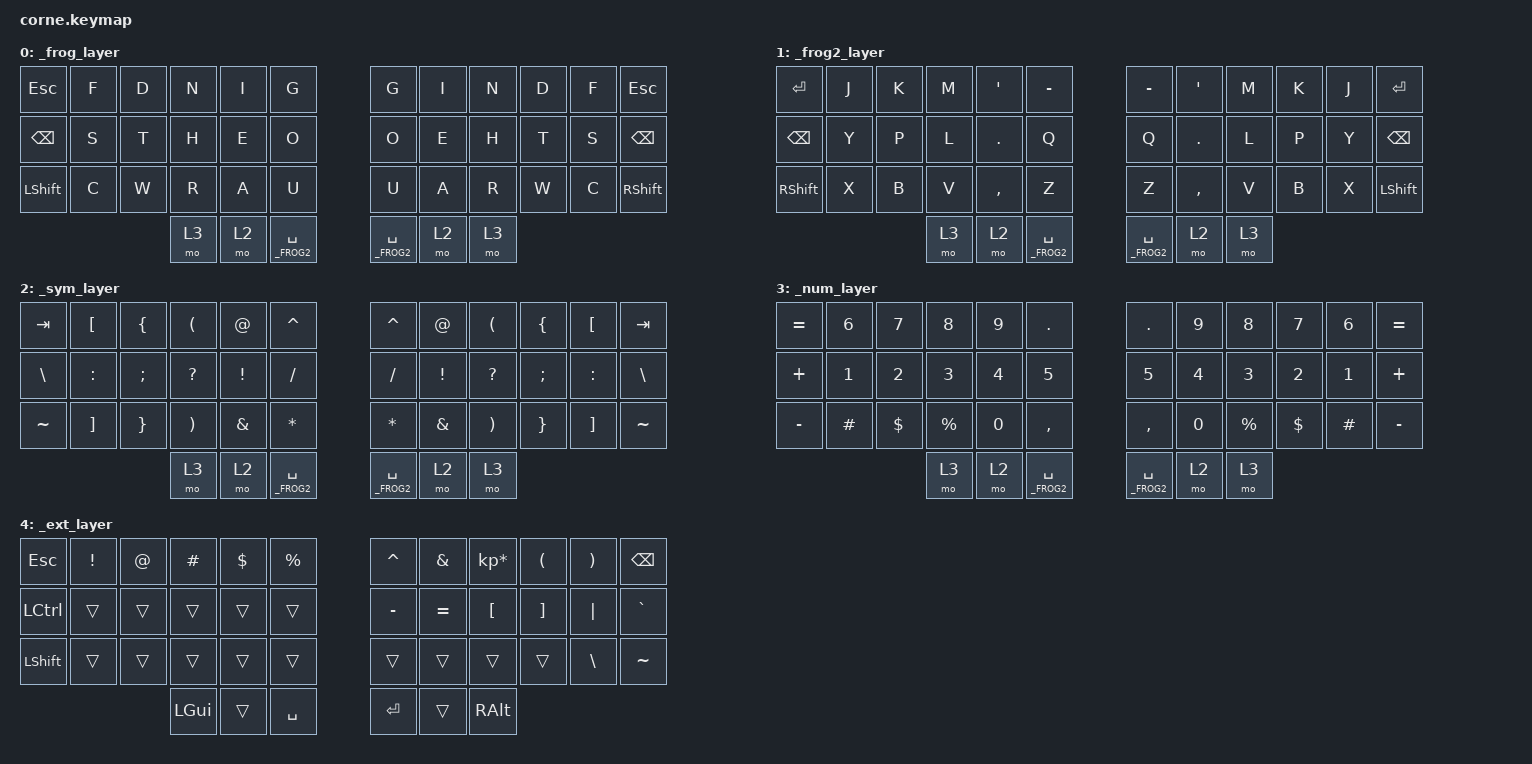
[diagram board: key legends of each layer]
/*
 * Copyright (c) 2020 The ZMK Contributors
 *
 * SPDX-License-Identifier: MIT
 */

#include <behaviors.dtsi>
#include <dt-bindings/zmk/keys.h>
#include <dt-bindings/zmk/bt.h>

#define _FROG 0
#define _FROG2 1
#define _SYM 2
#define _NUM 3
#define _EXT 4

/ {
        keymap {
                compatible = "zmk,keymap";

                _frog_layer {
// -----------------------------------------------------------------------------------------
// |  ESC |  F  |  D  |  N  |  I  |  G  |    |  G  |  I  |  N  |  D  |  F  | ESC  |
// | BSPC |  S  |  T  |  H  |  E  |  O  |    |  O  |  E  |  H  |  T  |  S  | BSPC |
// | SHFT |  C  |  W  |  R  |  A  |  U  |    |  U  |  A  |  R  |  W  |  C  | SHFT |
//                    | NUM | SYM | SPC |    | SPC | SYM | NUM |
                        bindings = <
   &kp ESC   &kp F &kp D &kp N &kp I &kp G   &kp G &kp I  &kp N &kp D &kp F &kp ESC
   &kp BSPC  &kp S &kp T &kp H &kp E &kp O   &kp O &kp E  &kp H &kp T &kp S &kp BSPC
   &kp LSHFT &kp C &kp W &kp R &kp A &kp U   &kp U &kp A  &kp R &kp W &kp C &kp RSHFT
            &mo 3 &mo 2 &lt _FROG2 SPACE     &lt _FROG2 SPACE &mo 2 &mo 3
                        >;
                };
				_frog2_layer {
// -----------------------------------------------------------------------------------------
// |  ENT |  J  |  K  |  M  |  '  |  -_ |    |  -_ |  '  |  M  |  K  |  J  | ENT  |
// | BSPC |  Y  |  P  |  L  |  .  |  Q  |    |  Q  |  .  |  L  |  P  |  Y  | BSPC |
// | SHFT |  X  |  B  |  V  |  ,  |  Z  |    |  Z  |  ,  |  V  |  B  |  X  | SHFT |
//                    | NUM | SYM | SPC |    | SPC | SYM | NUM |
                        bindings = <
   &kp RET   &kp J &kp K &kp M &kp SQT   &kp MINUS   &kp MINUS &kp SQT    &kp M &kp K &kp J &kp RET
   &kp BSPC  &kp Y &kp P &kp L &kp DOT   &kp Q       &kp Q     &kp DOT    &kp L &kp P &kp Y &kp BSPC
   &kp RSHFT &kp X &kp B &kp V &kp COMMA &kp Z       &kp Z     &kp COMMA  &kp V &kp B &kp X &kp LSHFT
				   &mo 3 &mo 2 &lt _FROG2 SPACE      &lt _FROG2 SPACE &mo 2 &mo 3
                        >;
                };
                _sym_layer {
// -----------------------------------------------------------------------------------------
// | TAB |  [  |  {  |  (  |  @  |  ^  |							   |  ^  |  @  |  (  |  {  |  [  | TAB |
// |  \| |  :  |  ;  |  ?  |  !  |  /  |							   |  /  |  !  |  ?  |  ;  |  :  |  \| |
// |  `  |  ]  |  }  |  )  |  &  |  *  |							   |  *  |  &  |  )  |  }  |  ]  |  `  |
//                   | NUM | SYM | SPC |							   | SPC | SYM | NUM |
                        bindings = <
   &kp TAB    &kp LBKT   &kp LBRC  &kp LPAR    &kp AT    &kp CARET     &kp CARET &kp AT   &kp LPAR  &kp LBRC &kp LBKT  &kp TAB
   &kp BSLH   &kp COLON  &kp SEMI  &kp QMARK   &kp EXCL  &kp FSLH      &kp FSLH  &kp EXCL &kp QMARK &kp SEMI &kp COLON &kp BSLH
   &kp TILDE  &kp RBKT   &kp RBRC  &kp RPAR    &kp AMPS  &kp ASTRK     &kp ASTRK &kp AMPS &kp RPAR  &kp RBRC &kp RBKT  &kp TILDE
									   &mo 3 &mo 2 &lt _FROG2 SPACE    &lt _FROG2 SPACE &mo 2 &mo 3
                        >;
                };

                _num_layer {
// -----------------------------------------------------------------------------------------
// |  =  |  6  |  7  |  8  |  9  |  .  |   					  |  ,  |  9  |  8  |  7  |  6  |  =  |
// |  +  |  1  |  2  |  3  |  4  |  5  |   					  |  5  |  4  |  3  |  2  |  1  |  +  |
// |  -  |  #  |  $  |  %  |  0  |  ,  |   					  |  ,  |  0  |  %  |  $  |  #  |  -  |
//                   | NUM | SYM | SPC |   					  | SPC | SYM | NUM |
                        bindings = <
   &kp EQUAL &kp N6   &kp N7   &kp N8    &kp N9  &kp PERIOD   &kp PERIOD &kp N9 &kp N8    &kp N7   &kp N6   &kp EQUAL
   &kp PLUS  &kp N1   &kp N2   &kp N3    &kp N4  &kp N5       &kp N5     &kp N4 &kp N3    &kp N2   &kp N1   &kp PLUS
   &kp MINUS &kp HASH &kp DLLR &kp PRCNT &kp N0  &kp COMMA    &kp COMMA  &kp N0 &kp PRCNT &kp DLLR &kp HASH &kp MINUS
                              &mo 3 &mo 2 &lt _FROG2 SPACE    &lt _FROG2 SPACE &mo 2 &mo 3
                        >;
				};
						
				_ext_layer {
// -----------------------------------------------------------------------------------------
// |  ESC |  !  |  @  |  #  |  $  |  %  |   |  ^  |  &  |  *  |  (  |  )  | BKSP |
// | CTRL |     |     |     |     |     |   |  -  |  =  |  {  |  }  | "|" |  `   |
// | SHFT |     |     |     |     |     |   |  _  |  +  |  [  |  ]  |  \  |  ~   |
//                    | GUI |     | SPC |   | ENT |     | ALT |
                        bindings = <
   &kp  ESC  &kp EXCL  &kp AT  &kp HASH  &kp DLLR  &kp PRCNT   &kp CARET &kp AMPS  &kp KP_MULTIPLY &kp LPAR &kp RPAR &kp BSPC
   &kp LCTRL &trans    &trans  &trans    &trans    &trans      &kp MINUS &kp EQUAL &kp LBKT        &kp RBKT &kp PIPE &kp GRAVE
   &kp LSHFT &trans    &trans  &trans    &trans    &trans      &trans    &trans    &trans          &trans   &kp BSLH &kp TILDE
                                   &kp LGUI &trans &kp SPACE   &kp RET &trans &kp RALT
                        >;
                };
        };
};
